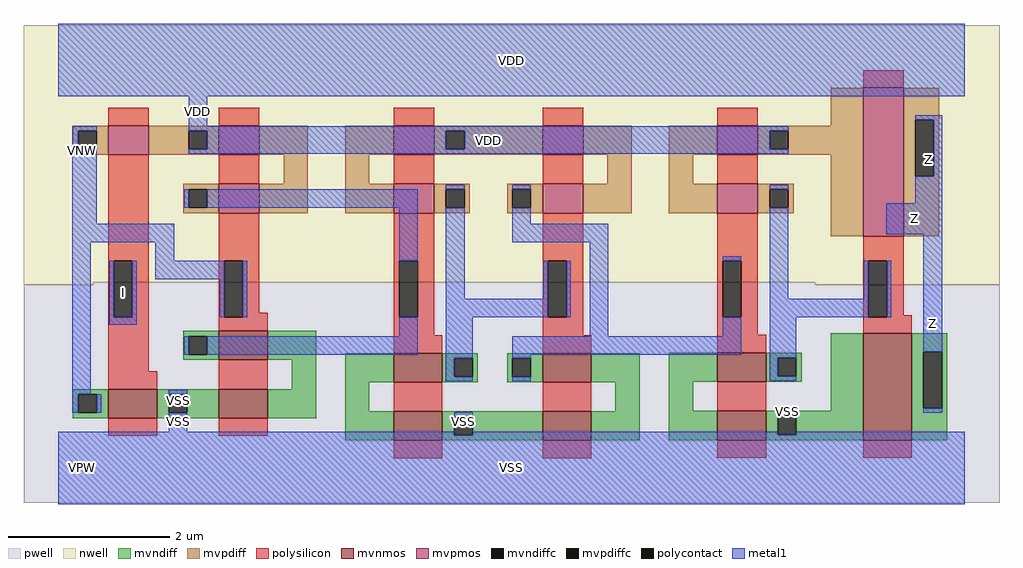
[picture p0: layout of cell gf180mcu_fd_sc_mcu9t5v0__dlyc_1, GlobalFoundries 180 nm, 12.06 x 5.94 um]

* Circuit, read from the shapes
.subckt gf180mcu_fd_sc_mcu9t5v0__dlyc_1 I Z VDD VNW VPW VSS
XM1 VSS I n1 VPW nfet_06v0 w=0.36u l=0.6u
XM2 n2 n1 VSS VPW nfet_06v0 w=0.36u l=0.6u
XM3 n2 n1 n3 VPW nfet_06v0 w=0.36u l=0.6u
XM4 VSS n3 n4 VPW nfet_06v0 w=0.36u l=0.6u
XM5 n5 n3 n4 VPW nfet_06v0 w=0.36u l=0.6u
XM6 n6 n5 VSS VPW nfet_06v0 w=0.36u l=0.6u
XM7 n6 n5 n7 VPW nfet_06v0 w=0.36u l=0.6u
XM8 VSS n7 n8 VPW nfet_06v0 w=0.36u l=0.6u
XM9 n9 n7 n8 VPW nfet_06v0 w=0.36u l=0.6u
XM10 Z n9 VSS VPW nfet_06v0 w=1.32u l=0.6u
XM11 VDD I n1 VNW pfet_06v0 w=0.36u l=0.5u
XM12 n10 n1 n3 VNW pfet_06v0 w=0.36u l=0.5u
XM13 n10 n1 VDD VNW pfet_06v0 w=0.36u l=0.5u
XM14 n5 n3 n11 VNW pfet_06v0 w=0.36u l=0.5u
XM15 VDD n3 n11 VNW pfet_06v0 w=0.36u l=0.5u
XM16 n12 n5 n7 VNW pfet_06v0 w=0.36u l=0.5u
XM17 n12 n5 VDD VNW pfet_06v0 w=0.36u l=0.5u
XM18 n9 n7 n13 VNW pfet_06v0 w=0.36u l=0.5u
XM19 VDD n7 n13 VNW pfet_06v0 w=0.36u l=0.5u
XM20 Z n9 VDD VNW pfet_06v0 w=1.83u l=0.5u
.ends

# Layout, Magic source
magic
tech gf180mcuD
magscale 1 10
<< nwell >>
rect -86 459 2326 1094
rect -86 453 86 459
rect 1871 453 2326 459
<< pwell >>
rect 86 453 1871 459
rect -86 -86 2326 453
<< mvnmos >>
rect 397 267 517 339
rect 124 123 244 195
rect 397 123 517 195
rect 829 212 949 284
rect 1197 212 1317 284
rect 829 68 949 140
rect 1197 68 1317 140
rect 1629 213 1749 285
rect 1629 69 1749 141
rect 1989 69 2109 333
<< mvpmos >>
rect 124 774 224 846
rect 397 774 497 846
rect 397 630 497 702
rect 829 774 929 846
rect 1197 774 1297 846
rect 829 630 929 702
rect 1197 630 1297 702
rect 1629 774 1729 846
rect 1629 630 1729 702
rect 1989 573 2089 939
<< mvndiff >>
rect 309 326 397 339
rect 309 280 322 326
rect 368 280 397 326
rect 309 267 397 280
rect 517 267 637 339
rect 577 195 637 267
rect 36 182 124 195
rect 36 136 49 182
rect 95 136 124 182
rect 36 123 124 136
rect 244 182 397 195
rect 244 136 273 182
rect 319 136 397 182
rect 244 123 397 136
rect 517 123 637 195
rect 709 212 829 284
rect 949 271 1037 284
rect 949 225 978 271
rect 1024 225 1037 271
rect 949 212 1037 225
rect 1109 271 1197 284
rect 1109 225 1122 271
rect 1168 225 1197 271
rect 1109 212 1197 225
rect 1317 212 1437 284
rect 709 140 769 212
rect 1377 140 1437 212
rect 709 68 829 140
rect 949 127 1197 140
rect 949 81 978 127
rect 1024 81 1197 127
rect 949 68 1197 81
rect 1317 68 1437 140
rect 1509 213 1629 285
rect 1749 272 1837 285
rect 1749 226 1778 272
rect 1824 226 1837 272
rect 1749 213 1837 226
rect 1509 141 1569 213
rect 1909 141 1989 333
rect 1509 69 1629 141
rect 1749 128 1989 141
rect 1749 82 1778 128
rect 1824 82 1989 128
rect 1749 69 1989 82
rect 2109 287 2197 333
rect 2109 147 2138 287
rect 2184 147 2197 287
rect 2109 69 2197 147
<< mvpdiff >>
rect 1909 846 1989 939
rect 36 833 124 846
rect 36 787 49 833
rect 95 787 124 833
rect 36 774 124 787
rect 224 833 397 846
rect 224 787 322 833
rect 368 787 397 833
rect 224 774 397 787
rect 497 774 617 846
rect 557 702 617 774
rect 309 689 397 702
rect 309 643 322 689
rect 368 643 397 689
rect 309 630 397 643
rect 497 630 617 702
rect 709 774 829 846
rect 929 833 1197 846
rect 929 787 958 833
rect 1004 787 1197 833
rect 929 774 1197 787
rect 1297 774 1417 846
rect 709 702 769 774
rect 1357 702 1417 774
rect 709 630 829 702
rect 929 689 1017 702
rect 929 643 958 689
rect 1004 643 1017 689
rect 929 630 1017 643
rect 1109 689 1197 702
rect 1109 643 1122 689
rect 1168 643 1197 689
rect 1109 630 1197 643
rect 1297 630 1417 702
rect 1509 774 1629 846
rect 1729 833 1989 846
rect 1729 787 1758 833
rect 1804 787 1989 833
rect 1729 774 1989 787
rect 1509 702 1569 774
rect 1509 630 1629 702
rect 1729 689 1817 702
rect 1729 643 1758 689
rect 1804 643 1817 689
rect 1729 630 1817 643
rect 1909 573 1989 774
rect 2089 861 2177 939
rect 2089 721 2118 861
rect 2164 721 2177 861
rect 2089 573 2177 721
<< mvndiffc >>
rect 322 280 368 326
rect 49 136 95 182
rect 273 136 319 182
rect 978 225 1024 271
rect 1122 225 1168 271
rect 978 81 1024 127
rect 1778 226 1824 272
rect 1778 82 1824 128
rect 2138 147 2184 287
<< mvpdiffc >>
rect 49 787 95 833
rect 322 787 368 833
rect 322 643 368 689
rect 958 787 1004 833
rect 958 643 1004 689
rect 1122 643 1168 689
rect 1758 787 1804 833
rect 1758 643 1804 689
rect 2118 721 2164 861
<< polysilicon >>
rect 1989 939 2089 983
rect 124 846 224 890
rect 397 846 497 890
rect 829 846 929 890
rect 1197 846 1297 890
rect 1629 846 1729 890
rect 124 512 224 774
rect 397 702 497 774
rect 829 702 929 774
rect 1197 702 1297 774
rect 1629 702 1729 774
rect 124 372 137 512
rect 183 372 224 512
rect 124 239 224 372
rect 397 512 497 630
rect 397 372 410 512
rect 456 383 497 512
rect 829 512 929 630
rect 456 372 517 383
rect 397 339 517 372
rect 829 372 842 512
rect 888 372 929 512
rect 829 328 929 372
rect 1197 512 1297 630
rect 1197 372 1210 512
rect 1256 372 1297 512
rect 1197 328 1297 372
rect 1629 512 1729 630
rect 1629 372 1642 512
rect 1688 372 1729 512
rect 1629 329 1729 372
rect 1989 512 2089 573
rect 1989 372 2002 512
rect 2048 377 2089 512
rect 2048 372 2109 377
rect 1989 333 2109 372
rect 829 284 949 328
rect 1197 284 1317 328
rect 1629 285 1749 329
rect 124 195 244 239
rect 397 195 517 267
rect 829 140 949 212
rect 1197 140 1317 212
rect 124 79 244 123
rect 397 79 517 123
rect 1629 141 1749 213
rect 829 24 949 68
rect 1197 24 1317 68
rect 1629 25 1749 69
rect 1989 25 2109 69
<< polycontact >>
rect 137 372 183 512
rect 410 372 456 512
rect 842 372 888 512
rect 1210 372 1256 512
rect 1642 372 1688 512
rect 2002 372 2048 512
<< metal1 >>
rect 0 918 2240 1098
rect 322 844 368 918
rect 2118 861 2184 872
rect 34 833 95 844
rect 34 787 49 833
rect 34 604 95 787
rect 322 833 1804 844
rect 368 787 958 833
rect 1004 787 1758 833
rect 322 776 1804 787
rect 2164 721 2184 861
rect 958 689 1004 700
rect 311 643 322 689
rect 368 643 888 689
rect 34 558 286 604
rect 34 182 80 558
rect 240 512 286 558
rect 842 512 888 643
rect 126 372 137 512
rect 183 372 194 512
rect 240 466 410 512
rect 399 372 410 466
rect 456 372 467 512
rect 126 354 194 372
rect 842 326 888 372
rect 311 280 322 326
rect 368 280 888 326
rect 958 418 1004 643
rect 1122 689 1168 700
rect 1122 604 1168 643
rect 1758 689 1804 700
rect 2118 654 2184 721
rect 1122 558 1359 604
rect 1199 418 1210 512
rect 958 372 1210 418
rect 1256 372 1267 512
rect 958 271 1024 372
rect 1313 326 1359 558
rect 1642 512 1688 523
rect 1642 326 1688 372
rect 958 225 978 271
rect 958 214 1024 225
rect 1122 280 1688 326
rect 1758 418 1804 643
rect 2046 578 2184 654
rect 1991 418 2002 512
rect 1758 372 2002 418
rect 2048 372 2059 512
rect 1122 271 1168 280
rect 1122 214 1168 225
rect 1758 272 1824 372
rect 1758 226 1778 272
rect 1758 215 1824 226
rect 2138 287 2184 578
rect 273 182 319 193
rect 34 136 49 182
rect 95 136 106 182
rect 273 90 319 136
rect 978 127 1024 138
rect 0 81 978 90
rect 1778 128 1824 139
rect 2138 136 2184 147
rect 1024 82 1778 90
rect 1824 82 2240 90
rect 1024 81 2240 82
rect 0 -90 2240 81
<< labels >>
flabel metal1 s 126 354 194 512 0 FreeSans 200 0 0 0 I
port 1 nsew default input
flabel metal1 s 0 918 2240 1098 0 FreeSans 200 0 0 0 VDD
port 3 nsew power bidirectional abutment
flabel metal1 s 273 139 319 193 0 FreeSans 200 0 0 0 VSS
port 6 nsew ground bidirectional abutment
flabel metal1 s 2118 654 2184 872 0 FreeSans 200 0 0 0 Z
port 2 nsew default output
flabel nwell s 10 734 110 834 0 FreeSans 400 0 0 0 VNW
port 4 nsew power bidirectional
flabel pwell s 10 -50 110 50 0 FreeSans 400 0 0 0 VPW
port 5 nsew ground bidirectional
rlabel metal1 s 2046 578 2184 654 1 Z
port 2 nsew default output
rlabel metal1 s 2138 136 2184 578 1 Z
port 2 nsew default output
rlabel metal1 s 322 844 368 918 1 VDD
port 3 nsew power bidirectional abutment
rlabel metal1 s 322 776 1804 844 1 VDD
port 3 nsew power bidirectional abutment
rlabel metal1 s 1778 138 1824 139 1 VSS
port 6 nsew ground bidirectional abutment
rlabel metal1 s 273 138 319 139 1 VSS
port 6 nsew ground bidirectional abutment
rlabel metal1 s 1778 90 1824 138 1 VSS
port 6 nsew ground bidirectional abutment
rlabel metal1 s 978 90 1024 138 1 VSS
port 6 nsew ground bidirectional abutment
rlabel metal1 s 273 90 319 138 1 VSS
port 6 nsew ground bidirectional abutment
rlabel metal1 s 0 -90 2240 90 1 VSS
port 6 nsew ground bidirectional abutment
<< properties >>
string FIXED_BBOX 0 0 2240 1008
string GDS_END 727580
string GDS_FILE $PDKPATH/libs.ref/gf180mcu_fd_sc_mcu9t5v0/gds/gf180mcu_fd_sc_mcu9t5v0.gds
string GDS_START 722070
string LEFclass core
string LEFsite GF018hv5v_green_sc9
string LEFsymmetry X Y
<< end >>
